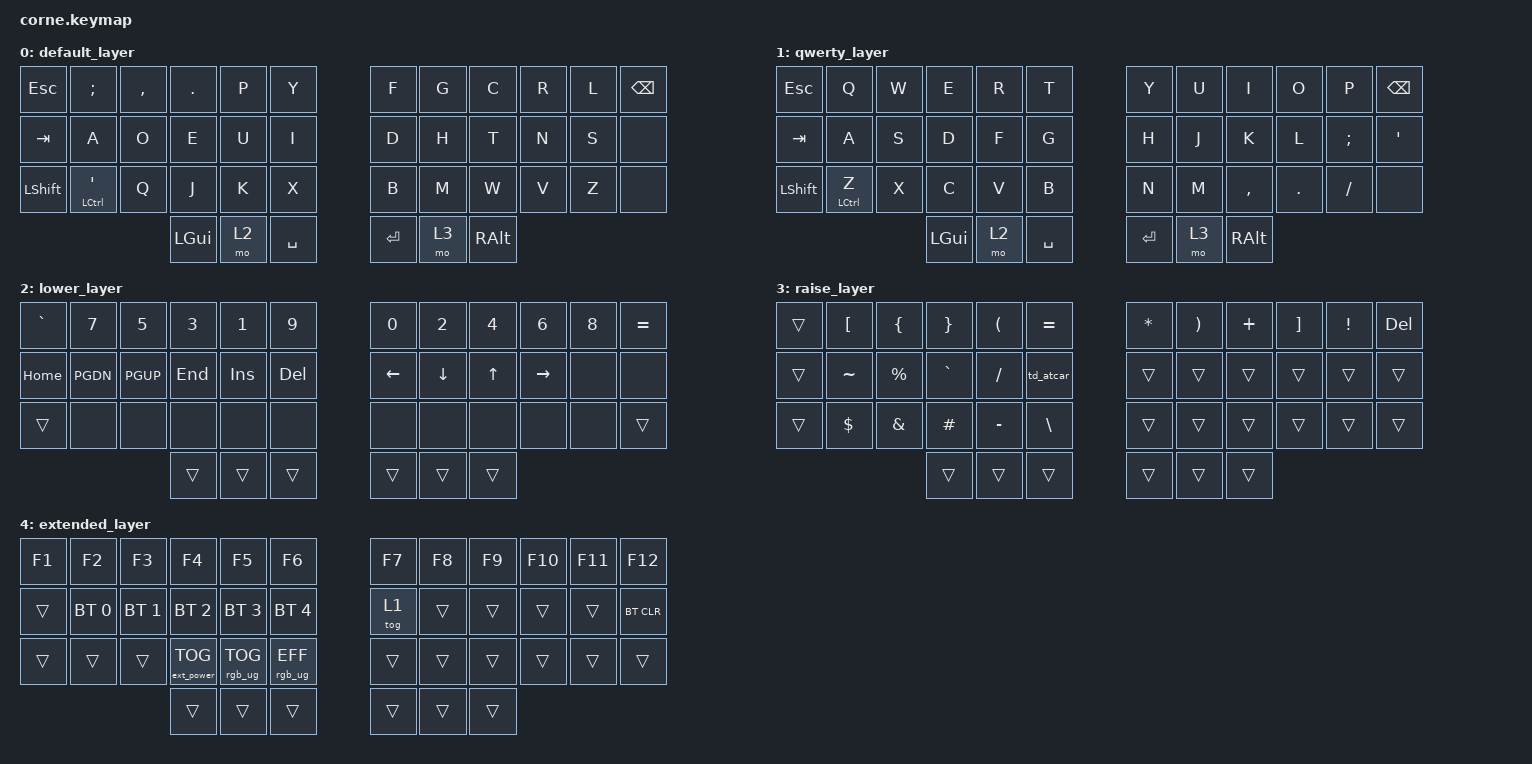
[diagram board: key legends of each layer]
/*
 * Copyright (c) 2020 The ZMK Contributors
 *
 * SPDX-License-Identifier: MIT
 */

#include <behaviors.dtsi>
#include <dt-bindings/zmk/keys.h>
#include <dt-bindings/zmk/bt.h>
#include <dt-bindings/zmk/ext_power.h>
#include <dt-bindings/zmk/rgb.h>

&nice_view_spi {
    cs-gpios = <&pro_micro 0  GPIO_ACTIVE_HIGH>;
};

&led_strip {
  chain-length = <27>; // 21 backlight + 6 underglow
};

&mt {
    tapping-term-ms = <400>;
};

/ {
    conditional_layers {
        compatible = "zmk,conditional-layers";

        Activate_EXT {
            if-layers = <2 3>;
            then-layer = <4>;
        };
    };

    behaviors {
        td_atcar: tap_dance_0 {
            compatible = "zmk,behavior-tap-dance";
            #binding-cells = <0>;
            tapping-term-ms = <200>;
            bindings = <&kp AT>, <&kp CARET>;
        };
    };

    keymap {
        compatible = "zmk,keymap";

        default_layer {
        // -----------------------------------------------------------------------------------------
        // |ESC   |   ; :  | , < | . > |  P  |  Y  |         |  F  |  G  |  C  |  R  |  L  | BSPC  |
        // |TAB   |    A   |  O  |  E  |  U  |  I  |         |  D  |  H  |  T  |  N  |  S  |       |
        // |LSHFT | ' CTRL |  Q  |  J  |  K  |  X  |         |  B  |  M  |  W  |  V  |  Z  |       |
        //                       | GUI | LOWER | SPC |  | ENT | RAISE | ALT |
            bindings = <
        &kp ESC    &kp SEMI      &kp COMMA &kp DOT &kp P &kp Y   &kp F &kp G  &kp C   &kp R   &kp L &kp BSPC
        &kp TAB    &kp A         &kp O     &kp E   &kp U &kp I   &kp D &kp H  &kp T   &kp N   &kp S &none
        &kp LSHIFT &mt LCTRL SQT &kp Q     &kp J   &kp K &kp X   &kp B &kp M  &kp W   &kp V   &kp Z &none
                                    &kp LGUI &mo 2 &kp SPACE       &kp RET &mo 3 &kp RALT
            >;
        };

        qwerty_layer {
        // -----------------------------------------------------------------------------------------
        // |ESC   |  Q   |  W  |  E  |  R  |  T  |     |  Y  |  U  |  I  |  O  |  P  | BSPC | 
        // |TAB   |  A   |  S  |  D  |  F  |  G  |     |  H  |  J  |  K  |  L  |  ;  |   '  |
        // |LSHFT |  Z   |  X  |  C  |  V  |  B  |     |  N  |  M  |  ,  |  .  |  /  |      |
        //                       | GUI | LOWER | SPC |     | ENT | RAISE | ALT |
            bindings = <
        &kp ESC    &kp Q       &kp W &kp E &kp R &kp T   &kp Y &kp U &kp I     &kp O   &kp P    &kp BSPC
        &kp TAB    &kp A       &kp S &kp D &kp F &kp G   &kp H &kp J &kp K     &kp L   &kp SEMI &kp SQT
        &kp LSHIFT &mt LCTRL Z &kp X &kp C &kp V &kp B   &kp N &kp M &kp COMMA &kp DOT &kp FSLH &none
                        &kp LGUI   &mo 2   &kp SPACE       &kp RET   &mo 3   &kp RALT
            >;
        };

        lower_layer {
        // -----------------------------------------------------------------------------------------
        // |  `  |  7  |  5  |  3  |  1  |  9  |     |  0  |  2  |  4  |  6  |  8  |  =   |
        // |HOME |PGDN |PGUP | END | INS | DEL |     |LEFT |DOWN | UP  |RIGHT|     |      |
        // |     |     |     |     |     |     |     |     |     |     |     |     |      |
        //                   |     |     |     |     |     |     |     |
            bindings = <
        &kp GRAVE &kp N7   &kp N5   &kp N3   &kp N1   &kp N9     &kp N0   &kp N2   &kp N4   &kp N6    &kp N8 &kp EQUAL
        &kp HOME  &kp PGDN &kp PGUP &kp END  &kp INS  &kp DEL    &kp LEFT &kp DOWN &kp UP   &kp RIGHT &none  &none
        &trans    &none    &none    &none    &none    &none      &none    &none    &none    &none     &none  &trans
                                  &trans   &trans   &trans         &trans   &trans   &trans
            >;
        };

        raise_layer {
        // -----------------------------------------------------------------------------------------
        // |ESC       |  [   |  {  |  }  |  (  |  =  |     |  *  |  )  |  +  |  ]  |  !  | DEL |
        // |TAB/LCTRL |  ~   |  %  |  `  | / ? | @ ^ |     |     |     |     |     |     |     |
        // |LSHFT     |  $   |  &  |  #  | - _ | \ | |     |     |     |     |     |     |     |
        //                         |     |     |     |     |     |     |     |
            bindings = <
        &trans  &kp LBKT  &kp LBRC  &kp RBRC  &kp LPAR  &kp EQUAL   &kp STAR  &kp RPAR &kp PLUS  &kp RBKT  &kp EXCL   &kp DEL
        &trans  &kp TILDE &kp PRCNT &kp GRAVE &kp FSLH  &td_atcar   &trans    &trans   &trans    &trans    &trans     &trans
        &trans  &kp DLLR  &kp AMPS  &kp HASH  &kp MINUS &kp BSLH    &trans    &trans   &trans    &trans    &trans     &trans
                                      &trans   &trans   &trans         &trans   &trans   &trans
            >;
        };

        extended_layer {
        // -----------------------------------------------------------------------------------------
        // |F1/BRI+   |F2/BRI-|  F3 |  F4 |  F5 |  F6 |     |F7/<< | F8/>|F9/>>|F10/MUTE|F11/VOL+|F12/VOL-|
        // |TAB/LCTRL | BT1   | BT2 | BT3 | BT4 | BT5 |     |QUERTY|     |     |        |        |        |
        // |LSHIFT    |       | EPWR| RGB | EFF |     |     |      |     |     |        |        |        |
        //                          | GUI |     | SPC |     |      | ENT |     | ALT |
            bindings = <
        &kp F1 &kp F2       &kp F3       &kp F4            &kp F5          &kp F6            &kp F7 &kp F8 &kp F9 &kp F10 &kp F11 &kp F12
        &trans &bt BT_SEL 0 &bt BT_SEL 1 &bt BT_SEL 2      &bt BT_SEL 3    &bt BT_SEL 4      &tog 1 &trans &trans &trans  &trans  &bt BT_CLR
        &trans &trans       &trans       &ext_power EP_TOG &rgb_ug RGB_TOG &rgb_ug RGB_EFF   &trans &trans &trans &trans  &trans  &trans
                                                          &trans   &trans   &trans              &trans   &trans   &trans
            >;
        };

    };
};
